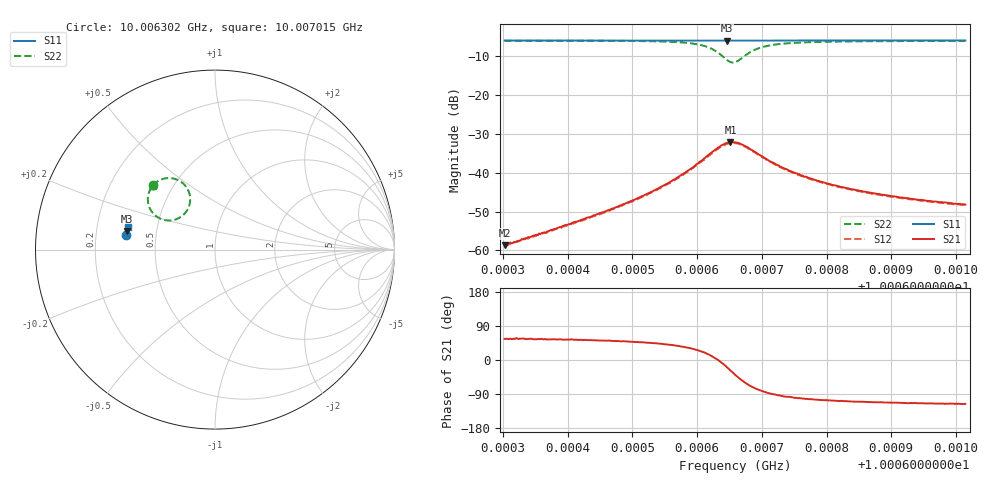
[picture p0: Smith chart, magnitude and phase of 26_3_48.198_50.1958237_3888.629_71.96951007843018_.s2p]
#  HZ  S  RI  R  50.00
! Rohde & Schwarz Vector Network Analyzer
! Rohde-Schwarz,ZNB20-2Port,1311601062101988,3.16
! Created: UTC 3/20/2024, 11:37:10 AM
! freq[Hz]  re:S11  im:S11  re:S21  im:S21  re:S12  im:S12  re:S22  im:S22
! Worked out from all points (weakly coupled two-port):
!   401 points, 10.006302 GHz to 10.007015 GHz, reference 50 ohm
!   highest |S21| = -32.12 dB at 10.006651 GHz (marker M1); lowest = -58.7 dB at 10.006302 GHz (marker M2)
!   lowest |S11| = -6.0 dB at 10.006646 GHz (marker M3), VSWR 3.00, Z = 16.8 + j4.65 ohm
!   |S11| at or under -10 dB: nowhere
!   |S22| runs from -11.6 to -6.0 dB; largest |S21 - S12| = 0.0019
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1.00063024e10  -0.4954 0.0818  0.000655 0.00096  0.000577 0.001  -0.3474 0.3596
1.00064217e10  -0.4943 0.0897  0.00151 0.00198  0.00136 0.00199  -0.3318 0.3728
1.00065036e10  -0.4933 0.0952  0.00302 0.00332  0.00285 0.00337  -0.3104 0.3861
1.0006541e10  -0.4928 0.0977  0.00462 0.00435  0.00432 0.00444  -0.2915 0.3934
1.00065766e10  -0.4922 0.1002  0.00772 0.00545  0.00725 0.00565  -0.2585 0.3985
1.00066086e10  -0.4911 0.1022  0.0136 0.00522  0.0132 0.00575  -0.201 0.3846
1.00066264e10  -0.4903 0.1032  0.0192 0.00194  0.0185 0.00295  -0.1567 0.3436
1.00066371e10  -0.4898 0.1036  0.0222 -0.00253  0.0214 -0.00131  -0.1392 0.2955
1.0006646e10  -0.4894 0.1036  0.0229 -0.00788  0.0225 -0.00628  -0.144 0.2435
1.00066514e10  -0.4896 0.1036  0.0219 -0.0116  0.0219 -0.00971  -0.159 0.2133
1.00066585e10  -0.4896 0.1035  0.0192 -0.0154  0.0196 -0.0139  -0.1917 0.1813
1.00066656e10  -0.4897 0.1035  0.0157 -0.018  0.0163 -0.0166  -0.2313 0.1649
1.00066745e10  -0.4903 0.1041  0.0108 -0.019  0.0117 -0.0181  -0.2786 0.1641
1.00066888e10  -0.4906 0.1048  0.00511 -0.0179  0.00593 -0.0173  -0.3307 0.1883
1.0006703e10  -0.4907 0.1059  0.00181 -0.0156  0.00255 -0.0152  -0.357 0.2184
1.00067315e10  -0.4908 0.108  -0.000935 -0.0116  -0.000457 -0.0114  -0.3731 0.2634
1.0006744e10  -0.4908 0.109  -0.00139 -0.0104  -0.000998 -0.0103  -0.3743 0.2769
1.00067778e10  -0.4903 0.1114  -0.00199 -0.00811  -0.00153 -0.00798  -0.3723 0.3021
1.00068348e10  -0.4898 0.1151  -0.00206 -0.00588  -0.00172 -0.00588  -0.3655 0.3253
1.00068971e10  -0.489 0.1193  -0.00191 -0.00469  -0.00169 -0.00466  -0.3585 0.3396
1.00069398e10  -0.4882 0.122  -0.00184 -0.00412  -0.00161 -0.00411  -0.3544 0.3464
1.00070146e10  -0.4873 0.1267  -0.0017 -0.0035  -0.00152 -0.00349  -0.3482 0.3553
